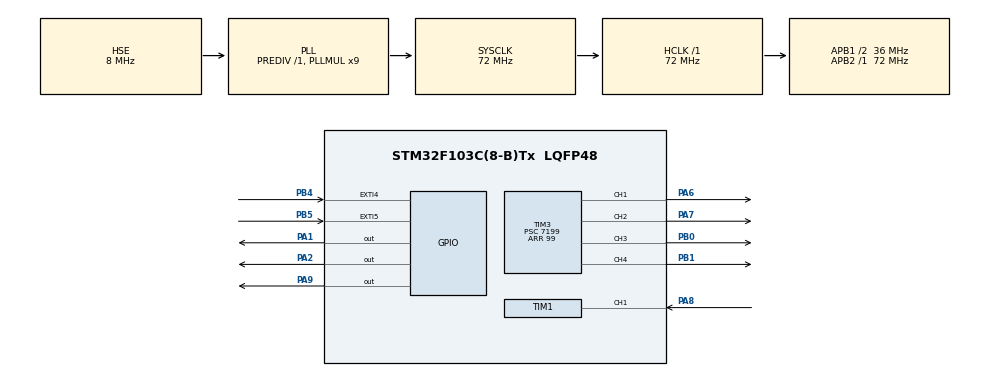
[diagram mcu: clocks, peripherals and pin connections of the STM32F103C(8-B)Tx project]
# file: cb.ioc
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Mcu.Family=STM32F1
Mcu.Name=STM32F103C(8-B)Tx
Mcu.Package=LQFP48
NVIC.EXTI4_IRQn=true\:1\:0\:true\:false\:true\:true\:true\:true
NVIC.EXTI9_5_IRQn=true\:1\:0\:true\:false\:true\:true\:true\:true
NVIC.PriorityGroup=NVIC_PRIORITYGROUP_4
NVIC.TIM1_CC_IRQn=true\:3\:0\:true\:false\:true\:true\:true\:true
NVIC.TIM2_IRQn=true\:2\:0\:true\:false\:true\:true\:true\:true
PA1.Signal=GPIO_Output
PA13.Mode=Serial_Wire
PA13.Signal=SYS_JTMS-SWDIO
PA14.Mode=Serial_Wire
PA14.Signal=SYS_JTCK-SWCLK
PA2.Signal=GPIO_Output
PA6.Signal=S_TIM3_CH1
PA7.Signal=S_TIM3_CH2
PA8.Signal=S_TIM1_CH1
PA9.Signal=GPIO_Output
PB0.Signal=S_TIM3_CH3
PB1.Signal=S_TIM3_CH4
PB4.GPIO_ModeDefaultEXTI=GPIO_MODE_IT_FALLING
PB4.GPIO_PuPd=GPIO_PULLUP
PB4.Signal=GPXTI4
PB5.GPIO_ModeDefaultEXTI=GPIO_MODE_IT_FALLING
PB5.GPIO_PuPd=GPIO_PULLUP
PB5.Signal=GPXTI5
PD0-OSC_IN.Mode=HSE-External-Oscillator
PD0-OSC_IN.Signal=RCC_OSC_IN
PD1-OSC_OUT.Mode=HSE-External-Oscillator
PD1-OSC_OUT.Signal=RCC_OSC_OUT
ProjectManager.HeapSize=0x200
ProjectManager.StackSize=0x400
ProjectManager.TargetToolchain=MDK-ARM V5.32
RCC.AHBFreq_Value=72000000
RCC.APB1CLKDivider=RCC_HCLK_DIV2
RCC.APB1Freq_Value=36000000
RCC.APB1TimFreq_Value=72000000
RCC.APB2Freq_Value=72000000
RCC.APB2TimFreq_Value=72000000
RCC.HCLKFreq_Value=72000000
RCC.PLLMUL=RCC_PLL_MUL9
RCC.PLLSourceVirtual=RCC_PLLSOURCE_HSE
RCC.SYSCLKFreq_VALUE=72000000
RCC.SYSCLKSource=RCC_SYSCLKSOURCE_PLLCLK
RCC.USBFreq_Value=72000000
SH.S_TIM1_CH1.0=TIM1_CH1,Input_Capture1_from_TI1
SH.S_TIM3_CH1.0=TIM3_CH1,PWM Generation1 CH1
SH.S_TIM3_CH2.0=TIM3_CH2,PWM Generation2 CH2
SH.S_TIM3_CH3.0=TIM3_CH3,PWM Generation3 CH3
SH.S_TIM3_CH4.0=TIM3_CH4,PWM Generation4 CH4
TIM1.Channel-Input_Capture1_from_TI1=TIM_CHANNEL_1
TIM1.Period=0xffff-1
TIM1.Prescaler=72-1
TIM2.Period=9999
TIM2.Prescaler=71
TIM3.Channel-PWM\ Generation1\ CH1=TIM_CHANNEL_1
TIM3.Channel-PWM\ Generation2\ CH2=TIM_CHANNEL_2
TIM3.Channel-PWM\ Generation3\ CH3=TIM_CHANNEL_3
TIM3.Channel-PWM\ Generation4\ CH4=TIM_CHANNEL_4
TIM3.Period=99
TIM3.Prescaler=7199
VP_TIM2_VS_ClockSourceINT.Mode=Internal
VP_TIM3_VS_ClockSourceINT.Mode=Internal
board=custom

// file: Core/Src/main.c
/* USER CODE BEGIN Header */
/**
  ******************************************************************************
  * @file           : main.c
  * @brief          : Main program body
  ******************************************************************************
  * @attention
  *
  * Copyright (c) 2023 STMicroelectronics.
  * All rights reserved.
  *
  * This software is licensed under terms that can be found in the LICENSE file
  * in the root directory of this software component.
  * If no LICENSE file comes with this software, it is provided AS-IS.
  *
  ******************************************************************************
  */
/* USER CODE END Header */
#include "main.h"

TIM_HandleTypeDef htim1;
TIM_HandleTypeDef htim2;
TIM_HandleTypeDef htim3;

void SystemClock_Config(void);
static void MX_GPIO_Init(void);
static void MX_TIM1_Init(void);
static void MX_TIM2_Init(void);
static void MX_TIM3_Init(void);

/* USER CODE BEGIN 0 */
void delay(uint16_t time)
{
	__HAL_TIM_SET_COUNTER(&htim1,0);
	while (__HAL_TIM_GET_COUNTER (&htim1) < time);
}

uint32_t IC_Val1 = 0;
uint32_t IC_Val2 = 0;
uint32_t Difference = 0;
uint8_t Is_First_Captured = 0;  // is the first value captured ?
uint8_t Distance  = 0;
float P=0.0,I=0.0,D=0.0,e=0.0,PRE_e=0.0,PREPRE_e=0.0,U=0.0,PRE_U=0;
float Kp=2,Ki=0.03,Kd=0.02;
float T=0.01;
float setpoint=20.0;
float pwm=0.0,pwm2=0.0;

#define TRIG_PIN GPIO_PIN_9
#define TRIG_PORT GPIOA

// Let's write the callback function

void HAL_TIM_IC_CaptureCallback(TIM_HandleTypeDef *htim)
{
	if (htim->Channel == HAL_TIM_ACTIVE_CHANNEL_1)  // if the interrupt source is channel1
	{
		if (Is_First_Captured==0) // if the first value is not captured
		{
			IC_Val1 = HAL_TIM_ReadCapturedValue(htim, TIM_CHANNEL_1); // read the first value
			Is_First_Captured = 1;  // set the first captured as true
			// Now change the polarity to falling edge
			__HAL_TIM_SET_CAPTUREPOLARITY(htim, TIM_CHANNEL_1, TIM_INPUTCHANNELPOLARITY_FALLING);
		}

		else if (Is_First_Captured==1)   // if the first is already captured
		{
			IC_Val2 = HAL_TIM_ReadCapturedValue(htim, TIM_CHANNEL_1);  // read second value
			__HAL_TIM_SET_COUNTER(htim, 0);  // reset the counter

			if (IC_Val2 > IC_Val1)
			{
				Difference = IC_Val2-IC_Val1;
			}

			else if (IC_Val1 > IC_Val2)
			{
				Difference = (0xffff - IC_Val1) + IC_Val2;
			}

			Distance = Difference * .034/2;
			Is_First_Captured = 0; // set it back to false

			// set polarity to rising edge
			__HAL_TIM_SET_CAPTUREPOLARITY(htim, TIM_CHANNEL_1, TIM_INPUTCHANNELPOLARITY_RISING);
			__HAL_TIM_DISABLE_IT(&htim1, TIM_IT_CC1);
		}
	}
}
void HCSR04_Read (void)
{
	HAL_GPIO_WritePin(TRIG_PORT, TRIG_PIN, GPIO_PIN_SET);  // pull the TRIG pin HIGH
	delay(10);  // wait for 10 us
	HAL_GPIO_WritePin(TRIG_PORT, TRIG_PIN, GPIO_PIN_RESET);  // pull the TRIG pin low

	__HAL_TIM_ENABLE_IT(&htim1, TIM_IT_CC1);
}
void HAL_TIM_PeriodElapsedCallback(TIM_HandleTypeDef *htim)
{
	e = setpoint - Distance;
	P = Kp*(e - PRE_e);
	I = 0.5*Ki*T*(e + PRE_e);
	D = Kd/T*(e - 2*PRE_e + PREPRE_e);
	U = PRE_U + P + I + D;
	PRE_U = U;
	PREPRE_e = PRE_e;
	PRE_e = e;

	if (U>100)
		U=100;
	else if (U<-100)
		U=-100;
	pwm=__fabs(U);

	if (U<0)
	{
		__HAL_TIM_SetCompare(&htim3,TIM_CHANNEL_1,pwm);
		__HAL_TIM_SetCompare(&htim3,TIM_CHANNEL_2,0);
		__HAL_TIM_SetCompare(&htim3,TIM_CHANNEL_3,pwm);
		__HAL_TIM_SetCompare(&htim3,TIM_CHANNEL_4,0);
	}
		else
	{
		__HAL_TIM_SetCompare(&htim3,TIM_CHANNEL_1,0);
		__HAL_TIM_SetCompare(&htim3,TIM_CHANNEL_2,pwm);
		__HAL_TIM_SetCompare(&htim3,TIM_CHANNEL_3,0);
		__HAL_TIM_SetCompare(&htim3,TIM_CHANNEL_4,pwm);
	}
	HCSR04_Read();
}

/* USER CODE END 0 */

int main(void)
{

  /* MCU Configuration--------------------------------------------------------*/

  /* Reset of all peripherals, Initializes the Flash interface and the Systick. */
  HAL_Init();

  /* Configure the system clock */
  SystemClock_Config();

  /* Initialize all configured peripherals */
  MX_GPIO_Init();
  MX_TIM1_Init();
  MX_TIM2_Init();
  MX_TIM3_Init();
  /* USER CODE BEGIN 2 */
HAL_TIM_IC_Start_IT(&htim1,TIM_CHANNEL_1);
HAL_TIM_Base_Start_IT(&htim2);
HAL_TIM_PWM_Start(&htim3,TIM_CHANNEL_1);
HAL_TIM_PWM_Start(&htim3,TIM_CHANNEL_2);
HAL_TIM_PWM_Start(&htim3,TIM_CHANNEL_3);
HAL_TIM_PWM_Start(&htim3,TIM_CHANNEL_4);
  /* USER CODE END 2 */

  /* Infinite loop */
  while (1)
  {

  }
}

void SystemClock_Config(void)
{
  RCC_OscInitTypeDef RCC_OscInitStruct = {0};
  RCC_ClkInitTypeDef RCC_ClkInitStruct = {0};

  /** Initializes the RCC Oscillators according to the specified parameters
  * in the RCC_OscInitTypeDef structure.
  */
  RCC_OscInitStruct.OscillatorType = RCC_OSCILLATORTYPE_HSE;
  RCC_OscInitStruct.HSEState = RCC_HSE_ON;
  RCC_OscInitStruct.HSEPredivValue = RCC_HSE_PREDIV_DIV1;
  RCC_OscInitStruct.HSIState = RCC_HSI_ON;
  RCC_OscInitStruct.PLL.PLLState = RCC_PLL_ON;
  RCC_OscInitStruct.PLL.PLLSource = RCC_PLLSOURCE_HSE;
  RCC_OscInitStruct.PLL.PLLMUL = RCC_PLL_MUL9;
  if (HAL_RCC_OscConfig(&RCC_OscInitStruct) != HAL_OK)
  {
    Error_Handler();
  }

  /** Initializes the CPU, AHB and APB buses clocks
  */
  RCC_ClkInitStruct.ClockType = RCC_CLOCKTYPE_HCLK|RCC_CLOCKTYPE_SYSCLK
                              |RCC_CLOCKTYPE_PCLK1|RCC_CLOCKTYPE_PCLK2;
  RCC_ClkInitStruct.SYSCLKSource = RCC_SYSCLKSOURCE_PLLCLK;
  RCC_ClkInitStruct.AHBCLKDivider = RCC_SYSCLK_DIV1;
  RCC_ClkInitStruct.APB1CLKDivider = RCC_HCLK_DIV2;
  RCC_ClkInitStruct.APB2CLKDivider = RCC_HCLK_DIV1;

  if (HAL_RCC_ClockConfig(&RCC_ClkInitStruct, FLASH_LATENCY_2) != HAL_OK)
  {
    Error_Handler();
  }
}

static void MX_TIM1_Init(void)
{

  TIM_MasterConfigTypeDef sMasterConfig = {0};
  TIM_IC_InitTypeDef sConfigIC = {0};

  htim1.Instance = TIM1;
  htim1.Init.Prescaler = 72-1;
  htim1.Init.CounterMode = TIM_COUNTERMODE_UP;
  htim1.Init.Period = 0xffff-1;
  htim1.Init.ClockDivision = TIM_CLOCKDIVISION_DIV1;
  htim1.Init.RepetitionCounter = 0;
  htim1.Init.AutoReloadPreload = TIM_AUTORELOAD_PRELOAD_DISABLE;
  if (HAL_TIM_IC_Init(&htim1) != HAL_OK)
  {
    Error_Handler();
  }
  sMasterConfig.MasterOutputTrigger = TIM_TRGO_RESET;
  sMasterConfig.MasterSlaveMode = TIM_MASTERSLAVEMODE_DISABLE;
  if (HAL_TIMEx_MasterConfigSynchronization(&htim1, &sMasterConfig) != HAL_OK)
  {
    Error_Handler();
  }
  sConfigIC.ICPolarity = TIM_INPUTCHANNELPOLARITY_RISING;
  sConfigIC.ICSelection = TIM_ICSELECTION_DIRECTTI;
  sConfigIC.ICPrescaler = TIM_ICPSC_DIV1;
  sConfigIC.ICFilter = 0;
  if (HAL_TIM_IC_ConfigChannel(&htim1, &sConfigIC, TIM_CHANNEL_1) != HAL_OK)
  {
    Error_Handler();
  }

}

static void MX_TIM2_Init(void)
{

  TIM_ClockConfigTypeDef sClockSourceConfig = {0};
  TIM_MasterConfigTypeDef sMasterConfig = {0};

  htim2.Instance = TIM2;
  htim2.Init.Prescaler = 71;
  htim2.Init.CounterMode = TIM_COUNTERMODE_UP;
  htim2.Init.Period = 9999;
  htim2.Init.ClockDivision = TIM_CLOCKDIVISION_DIV1;
  htim2.Init.AutoReloadPreload = TIM_AUTORELOAD_PRELOAD_DISABLE;
  if (HAL_TIM_Base_Init(&htim2) != HAL_OK)
  {
    Error_Handler();
  }
  sClockSourceConfig.ClockSource = TIM_CLOCKSOURCE_INTERNAL;
  if (HAL_TIM_ConfigClockSource(&htim2, &sClockSourceConfig) != HAL_OK)
  {
    Error_Handler();
  }
  sMasterConfig.MasterOutputTrigger = TIM_TRGO_RESET;
  sMasterConfig.MasterSlaveMode = TIM_MASTERSLAVEMODE_DISABLE;
  if (HAL_TIMEx_MasterConfigSynchronization(&htim2, &sMasterConfig) != HAL_OK)
  {
    Error_Handler();
  }

}

static void MX_TIM3_Init(void)
{

  TIM_ClockConfigTypeDef sClockSourceConfig = {0};
  TIM_MasterConfigTypeDef sMasterConfig = {0};
  TIM_OC_InitTypeDef sConfigOC = {0};

  htim3.Instance = TIM3;
  htim3.Init.Prescaler = 7199;
  htim3.Init.CounterMode = TIM_COUNTERMODE_UP;
  htim3.Init.Period = 99;
  htim3.Init.ClockDivision = TIM_CLOCKDIVISION_DIV1;
  htim3.Init.AutoReloadPreload = TIM_AUTORELOAD_PRELOAD_DISABLE;
  if (HAL_TIM_Base_Init(&htim3) != HAL_OK)
  {
    Error_Handler();
  }
  sClockSourceConfig.ClockSource = TIM_CLOCKSOURCE_INTERNAL;
  if (HAL_TIM_ConfigClockSource(&htim3, &sClockSourceConfig) != HAL_OK)
  {
    Error_Handler();
  }
  if (HAL_TIM_PWM_Init(&htim3) != HAL_OK)
  {
    Error_Handler();
  }
  sMasterConfig.MasterOutputTrigger = TIM_TRGO_RESET;
  sMasterConfig.MasterSlaveMode = TIM_MASTERSLAVEMODE_DISABLE;
  if (HAL_TIMEx_MasterConfigSynchronization(&htim3, &sMasterConfig) != HAL_OK)
  {
    Error_Handler();
  }
  sConfigOC.OCMode = TIM_OCMODE_PWM1;
  sConfigOC.Pulse = 0;
  sConfigOC.OCPolarity = TIM_OCPOLARITY_HIGH;
  sConfigOC.OCFastMode = TIM_OCFAST_DISABLE;
  if (HAL_TIM_PWM_ConfigChannel(&htim3, &sConfigOC, TIM_CHANNEL_1) != HAL_OK)
  {
    Error_Handler();
  }
  if (HAL_TIM_PWM_ConfigChannel(&htim3, &sConfigOC, TIM_CHANNEL_2) != HAL_OK)
  {
    Error_Handler();
  }
  if (HAL_TIM_PWM_ConfigChannel(&htim3, &sConfigOC, TIM_CHANNEL_3) != HAL_OK)
  {
    Error_Handler();
  }
  if (HAL_TIM_PWM_ConfigChannel(&htim3, &sConfigOC, TIM_CHANNEL_4) != HAL_OK)
  {
    Error_Handler();
  }
  HAL_TIM_MspPostInit(&htim3);

}

static void MX_GPIO_Init(void)
{
  GPIO_InitTypeDef GPIO_InitStruct = {0};

  /* GPIO Ports Clock Enable */
  __HAL_RCC_GPIOD_CLK_ENABLE();
  __HAL_RCC_GPIOA_CLK_ENABLE();
  __HAL_RCC_GPIOB_CLK_ENABLE();

  /*Configure GPIO pin Output Level */
  HAL_GPIO_WritePin(GPIOA, GPIO_PIN_1|GPIO_PIN_2|GPIO_PIN_9, GPIO_PIN_RESET);

  /*Configure GPIO pins : PA1 PA2 PA9 */
  GPIO_InitStruct.Pin = GPIO_PIN_1|GPIO_PIN_2|GPIO_PIN_9;
  GPIO_InitStruct.Mode = GPIO_MODE_OUTPUT_PP;
  GPIO_InitStruct.Pull = GPIO_NOPULL;
  GPIO_InitStruct.Speed = GPIO_SPEED_FREQ_LOW;
  HAL_GPIO_Init(GPIOA, &GPIO_InitStruct);

  /*Configure GPIO pins : PB4 PB5 */
  GPIO_InitStruct.Pin = GPIO_PIN_4|GPIO_PIN_5;
  GPIO_InitStruct.Mode = GPIO_MODE_IT_FALLING;
  GPIO_InitStruct.Pull = GPIO_PULLUP;
  HAL_GPIO_Init(GPIOB, &GPIO_InitStruct);

  /* EXTI interrupt init*/
  HAL_NVIC_SetPriority(EXTI4_IRQn, 1, 0);
  HAL_NVIC_EnableIRQ(EXTI4_IRQn);

  HAL_NVIC_SetPriority(EXTI9_5_IRQn, 1, 0);
  HAL_NVIC_EnableIRQ(EXTI9_5_IRQn);

}

/* USER CODE BEGIN 4 */
void EXTI4_IRQHandler(void)
{
  /* USER CODE BEGIN EXTI4_IRQn 0 */
HAL_GPIO_WritePin(GPIOB,GPIO_PIN_4,0);
	while (HAL_GPIO_ReadPin(GPIOB,GPIO_PIN_4)== 0)
	{

	TIM3->CCR1=0;
	TIM3->CCR2=0;
	TIM3->CCR3=30;
	TIM3->CCR4=0;

	}

	TIM3->CCR1=0;
	TIM3->CCR2=0;
	TIM3->CCR3=0;
	TIM3->CCR4=0;
  /* USER CODE END EXTI4_IRQn 0 */
  HAL_GPIO_EXTI_IRQHandler(GPIO_PIN_4);
  /* USER CODE BEGIN EXTI4_IRQn 1 */

  /* USER CODE END EXTI4_IRQn 1 */
}

/**
  * @brief This function handles EXTI line[9:5] interrupts.
  */
void EXTI9_5_IRQHandler(void)
{
  /* USER CODE BEGIN EXTI9_5_IRQn 0 */
HAL_GPIO_WritePin(GPIOB,GPIO_PIN_5,0);
	while (HAL_GPIO_ReadPin(GPIOB,GPIO_PIN_5)== 0)
	{

	TIM3->CCR1=30;
	TIM3->CCR2=0;
	TIM3->CCR3=0;
	TIM3->CCR4=0;
	}

	TIM3->CCR1=0;
	TIM3->CCR2=0;
	TIM3->CCR3=0;
	TIM3->CCR4=0;
  /* USER CODE END EXTI9_5_IRQn 0 */
  HAL_GPIO_EXTI_IRQHandler(GPIO_PIN_5);
  /* USER CODE BEGIN EXTI9_5_IRQn 1 */

  /* USER CODE END EXTI9_5_IRQn 1 */
}

/**
  * @brief This function handles TIM1 capture compare interrupt.
  */
/* USER CODE END 4 */

void Error_Handler(void)
{
  __disable_irq();
  while (1)
  {
  }
}
